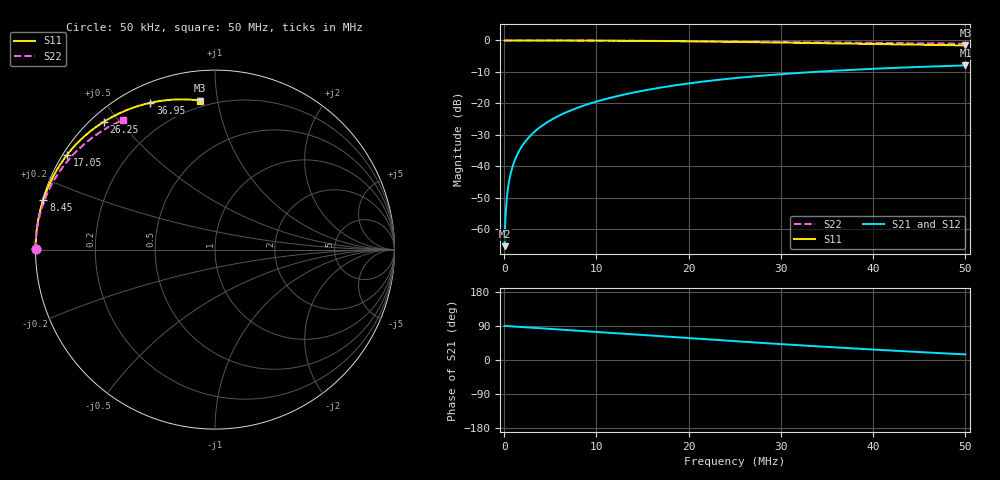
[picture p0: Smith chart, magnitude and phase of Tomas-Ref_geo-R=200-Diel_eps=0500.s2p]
! TOUCHSTONE file generated by CST MICROWAVE STUDIO
! Date and time: Thu Oct 06 01:07:45 2016
! Project name: tomas_icrh_linear_2016-plasma-Rdiel=200.cst
! Header version: 2015
! Port assignment regex: !\s*Touchstone port\s*([0-9]+)\s*=\s*CST MWS port\s*([0-9]+)\s*\(\"(.*)\"\)(\s*mode\s*([0-9]+))?.*
! Touchstone port assignment:
! Touchstone port 1 = CST MWS port 1 ("")
! Touchstone port 2 = CST MWS port 2 ("")
# MHZ S MA R 50
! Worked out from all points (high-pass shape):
!   1000 points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, 50 kHz to 50 MHz, reference 50 ohm
!   highest |S21| = -7.93 dB at 50 MHz (marker M1); lowest = -65.3 dB at 50 kHz (marker M2)
!   |S21| within 3 dB of the highest: 29.02 MHz to end of sweep
!   lowest |S11| = -1.6 dB at 50 MHz (marker M3), VSWR 11.05, Z = 8.18 + j44.6 ohm
!   |S11| at or under -10 dB: nowhere
!   |S22| runs from -1.0 to 0.0 dB; largest |S21 - S12| = 1e-06
!   S11 on the Smith chart (normalised r, x): 50 kHz: 0.00, +0.00; 8.45 MHz: 0.00, +0.14; 17.05 MHz: 0.01, +0.29; 26.25 MHz: 0.04, +0.46; 36.95 MHz: 0.08, +0.65; 50 MHz: 0.16, +0.89
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0.05  1 179.9  0.0005419 90.2  0.0005419 90.2  1 179.9
0.15  1 179.7  0.001629 89.9  0.001629 89.9  1 179.8
0.4  1 179.2  0.004344 89.4  0.004344 89.4  1 179.5
0.5  1 179.0  0.00543 89.2  0.00543 89.2  1 179.4
0.65  1 178.7  0.007058 89.0  0.007058 89.0  1 179.2
0.85  0.9999 178.4  0.009227 88.7  0.009227 88.7  0.9999 179.0
1.15  0.9999 177.8  0.01248 88.2  0.01248 88.2  0.9999 178.6
1.85  0.9998 176.4  0.02005 87.1  0.02005 87.1  0.9998 177.7
2.9  0.9995 174.4  0.03136 85.4  0.03136 85.4  0.9995 176.5
4.3  0.9988 171.7  0.04636 83.2  0.04636 83.2  0.9989 174.8
6.15  0.9976 168.2  0.06612 80.3  0.06612 80.3  0.9977 172.5
8.4  0.9955 163.9  0.09006 76.7  0.09006 76.7  0.9958 169.8
8.45  0.9954 163.8  0.09059 76.7  0.09059 76.7  0.9957 169.8
12.15  0.9902 156.7  0.1294 70.7  0.1294 70.7  0.9911 165.3
16.7  0.98 148.1  0.1759 63.3  0.1759 63.3  0.983 159.9
17.05  0.9791 147.5  0.1794 62.8  0.1794 62.8  0.9823 159.5
25.05  0.9489 133.0  0.2528 49.6  0.2528 49.6  0.9618 150.4
26.25  0.9436 130.9  0.2626 47.7  0.2626 47.7  0.9584 149.1
33.35  0.9107 119.3  0.3146 36.9  0.3146 36.9  0.937 141.5
36.95  0.8938 113.7  0.3373 31.8  0.3373 31.8  0.9259 137.8
41.7  0.8714 106.8  0.3638 25.3  0.3638 25.3  0.9112 133.1
50  0.8341 95.6  0.4013 14.7  0.4013 14.7  0.8866 125.3
